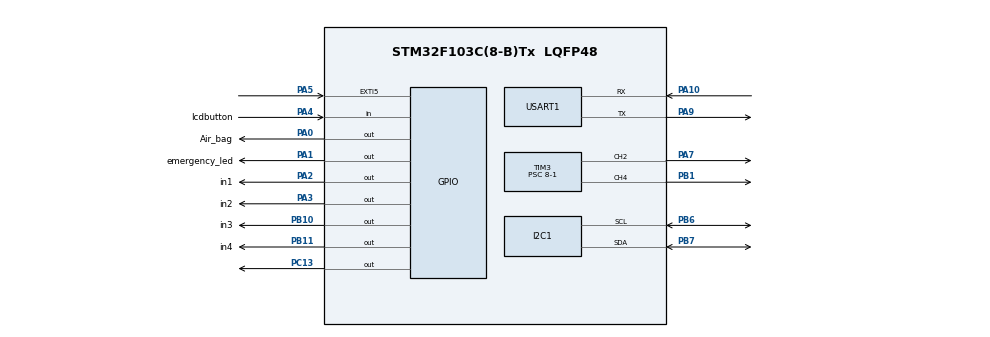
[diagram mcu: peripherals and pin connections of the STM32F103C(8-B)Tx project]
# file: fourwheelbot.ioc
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Mcu.Family=STM32F1
Mcu.Name=STM32F103C(8-B)Tx
Mcu.Package=LQFP48
NVIC.EXTI9_5_IRQn=true\:5\:0\:true\:false\:false\:true\:true\:true
NVIC.PriorityGroup=NVIC_PRIORITYGROUP_3
NVIC.TIM1_UP_IRQn=true\:7\:0\:true\:false\:true\:false\:true\:true
NVIC.TimeBase=TIM1_UP_IRQn
NVIC.TimeBaseIP=TIM1
PA0-WKUP.GPIO_Label=Air_bag
PA0-WKUP.Signal=GPIO_Output
PA1.GPIO_Label=emergency_led
PA1.Signal=GPIO_Output
PA10.Mode=Asynchronous
PA10.Signal=USART1_RX
PA2.GPIO_Label=in1
PA2.Signal=GPIO_Output
PA3.GPIO_Label=in2
PA3.Signal=GPIO_Output
PA4.GPIO_Label=lcdbutton
PA4.GPIO_PuPd=GPIO_PULLDOWN
PA4.Signal=GPIO_Input
PA5.GPIO_ModeDefaultEXTI=GPIO_MODE_IT_FALLING
PA5.Signal=GPXTI5
PA7.Signal=S_TIM3_CH2
PA9.Mode=Asynchronous
PA9.Signal=USART1_TX
PB1.Signal=S_TIM3_CH4
PB10.GPIO_Label=in3
PB10.Signal=GPIO_Output
PB11.GPIO_Label=in4
PB11.Signal=GPIO_Output
PB6.Mode=I2C
PB6.Signal=I2C1_SCL
PB7.Mode=I2C
PB7.Signal=I2C1_SDA
PC13-TAMPER-RTC.Signal=GPIO_Output
ProjectManager.HeapSize=0x200
ProjectManager.StackSize=0x400
ProjectManager.TargetToolchain=STM32CubeIDE
RCC.APB1Freq_Value=8000000
RCC.APB2Freq_Value=8000000
SH.S_TIM3_CH2.0=TIM3_CH2,PWM Generation2 CH2
SH.S_TIM3_CH4.0=TIM3_CH4,PWM Generation4 CH4
TIM3.Channel-PWM\ Generation2\ CH2=TIM_CHANNEL_2
TIM3.Channel-PWM\ Generation4\ CH4=TIM_CHANNEL_4
TIM3.Period=1000-1
TIM3.Prescaler=8-1
USART1.VirtualMode=VM_ASYNC
VP_SYS_VS_ND.Mode=No_Debug
VP_SYS_VS_tim1.Mode=TIM1
board=custom

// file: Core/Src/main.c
/* USER CODE BEGIN Header */
/**
  ******************************************************************************
  * @file           : main.c
  * @brief          : Main program body
  ******************************************************************************
  * @attention
  *
  * Copyright (c) 2026 STMicroelectronics.
  * All rights reserved.
  *
  * This software is licensed under terms that can be found in the LICENSE file
  * in the root directory of this software component.
  * If no LICENSE file comes with this software, it is provided AS-IS.
  *
  ******************************************************************************
  */
/* USER CODE END Header */
#include "main.h"

/* USER CODE BEGIN Includes */
#include "FreeRTOS.h"
#include "task.h"
/* USER CODE END Includes */

/* USER CODE BEGIN PTD */
#define DEVICE_ADDR (0x27<<1)
uint8_t command1[]={0x30,0x30,0x30,0x20,'\0'};
uint8_t command[]={0x28,0x0E,0x01,0x07,0x8F,'\0'};
uint8_t lcd_data[] ="Write 16 letters of your favourite song1";
uint8_t lcd_data1[]="Write 16 letters of your favourite song2";
int lcd_button_flag=0;
/* USER CODE END PTD */

I2C_HandleTypeDef hi2c1;

TIM_HandleTypeDef htim3;

UART_HandleTypeDef huart1;

void SystemClock_Config(void);
static void MX_GPIO_Init(void);
static void MX_USART1_UART_Init(void);
static void MX_I2C1_Init(void);
static void MX_TIM3_Init(void);
/* USER CODE BEGIN PFP */

void lcd_init(void);
void lcd_write_command1(uint8_t command_1);
void lcd_write_command(uint8_t data);
void lcd_write_data(uint8_t data);
void delay();

void motor_task(void *parameter);
void lcd_task(void *parameter);
void lcdbutton_task(void *parameter);
void emergency_task(void *parameter);

TaskHandle_t motor_handle;
TaskHandle_t lcd_handle;
TaskHandle_t lcdbutton_handle;
TaskHandle_t emergency_handle;
/* USER CODE END PFP */

int main(void)
{

  /* MCU Configuration--------------------------------------------------------*/

  /* Reset of all peripherals, Initializes the Flash interface and the Systick. */
  HAL_Init();

  /* Configure the system clock */
  SystemClock_Config();

  /* Initialize all configured peripherals */
  MX_GPIO_Init();
  MX_USART1_UART_Init();
  MX_I2C1_Init();
  MX_TIM3_Init();
  /* USER CODE BEGIN 2 */

  xTaskCreate(motor_task, "motor", 100, NULL, 3, &motor_handle);
  xTaskCreate(lcd_task, "lcd", 200, NULL, 2, &lcd_handle);
  xTaskCreate(lcdbutton_task, "lcdbutton", 50, NULL, 2, &lcdbutton_handle);

  xTaskCreate(emergency_task, "emergency", 50, NULL, 4, &emergency_handle);

  vTaskStartScheduler();
  /* USER CODE END 2 */

  /* Infinite loop */
  while (1)
  {

  }
}

void SystemClock_Config(void)
{
  RCC_OscInitTypeDef RCC_OscInitStruct = {0};
  RCC_ClkInitTypeDef RCC_ClkInitStruct = {0};

  /** Initializes the RCC Oscillators according to the specified parameters
  * in the RCC_OscInitTypeDef structure.
  */
  RCC_OscInitStruct.OscillatorType = RCC_OSCILLATORTYPE_HSI;
  RCC_OscInitStruct.HSIState = RCC_HSI_ON;
  RCC_OscInitStruct.HSICalibrationValue = RCC_HSICALIBRATION_DEFAULT;
  RCC_OscInitStruct.PLL.PLLState = RCC_PLL_NONE;
  if (HAL_RCC_OscConfig(&RCC_OscInitStruct) != HAL_OK)
  {
    Error_Handler();
  }

  /** Initializes the CPU, AHB and APB buses clocks
  */
  RCC_ClkInitStruct.ClockType = RCC_CLOCKTYPE_HCLK|RCC_CLOCKTYPE_SYSCLK
                              |RCC_CLOCKTYPE_PCLK1|RCC_CLOCKTYPE_PCLK2;
  RCC_ClkInitStruct.SYSCLKSource = RCC_SYSCLKSOURCE_HSI;
  RCC_ClkInitStruct.AHBCLKDivider = RCC_SYSCLK_DIV1;
  RCC_ClkInitStruct.APB1CLKDivider = RCC_HCLK_DIV1;
  RCC_ClkInitStruct.APB2CLKDivider = RCC_HCLK_DIV1;

  if (HAL_RCC_ClockConfig(&RCC_ClkInitStruct, FLASH_LATENCY_0) != HAL_OK)
  {
    Error_Handler();
  }
}

static void MX_I2C1_Init(void)
{

  hi2c1.Instance = I2C1;
  hi2c1.Init.ClockSpeed = 100000;
  hi2c1.Init.DutyCycle = I2C_DUTYCYCLE_2;
  hi2c1.Init.OwnAddress1 = 0;
  hi2c1.Init.AddressingMode = I2C_ADDRESSINGMODE_7BIT;
  hi2c1.Init.DualAddressMode = I2C_DUALADDRESS_DISABLE;
  hi2c1.Init.OwnAddress2 = 0;
  hi2c1.Init.GeneralCallMode = I2C_GENERALCALL_DISABLE;
  hi2c1.Init.NoStretchMode = I2C_NOSTRETCH_DISABLE;
  if (HAL_I2C_Init(&hi2c1) != HAL_OK)
  {
    Error_Handler();
  }

}

static void MX_TIM3_Init(void)
{

  TIM_MasterConfigTypeDef sMasterConfig = {0};
  TIM_OC_InitTypeDef sConfigOC = {0};

  htim3.Instance = TIM3;
  htim3.Init.Prescaler = 8-1;
  htim3.Init.CounterMode = TIM_COUNTERMODE_UP;
  htim3.Init.Period = 1000-1;
  htim3.Init.ClockDivision = TIM_CLOCKDIVISION_DIV1;
  htim3.Init.AutoReloadPreload = TIM_AUTORELOAD_PRELOAD_DISABLE;
  if (HAL_TIM_PWM_Init(&htim3) != HAL_OK)
  {
    Error_Handler();
  }
  sMasterConfig.MasterOutputTrigger = TIM_TRGO_RESET;
  sMasterConfig.MasterSlaveMode = TIM_MASTERSLAVEMODE_DISABLE;
  if (HAL_TIMEx_MasterConfigSynchronization(&htim3, &sMasterConfig) != HAL_OK)
  {
    Error_Handler();
  }
  sConfigOC.OCMode = TIM_OCMODE_PWM1;
  sConfigOC.Pulse = 0;
  sConfigOC.OCPolarity = TIM_OCPOLARITY_HIGH;
  sConfigOC.OCFastMode = TIM_OCFAST_DISABLE;
  if (HAL_TIM_PWM_ConfigChannel(&htim3, &sConfigOC, TIM_CHANNEL_2) != HAL_OK)
  {
    Error_Handler();
  }
  if (HAL_TIM_PWM_ConfigChannel(&htim3, &sConfigOC, TIM_CHANNEL_4) != HAL_OK)
  {
    Error_Handler();
  }
  HAL_TIM_MspPostInit(&htim3);

}

static void MX_USART1_UART_Init(void)
{

  huart1.Instance = USART1;
  huart1.Init.BaudRate = 115200;
  huart1.Init.WordLength = UART_WORDLENGTH_8B;
  huart1.Init.StopBits = UART_STOPBITS_1;
  huart1.Init.Parity = UART_PARITY_NONE;
  huart1.Init.Mode = UART_MODE_TX_RX;
  huart1.Init.HwFlowCtl = UART_HWCONTROL_NONE;
  huart1.Init.OverSampling = UART_OVERSAMPLING_16;
  if (HAL_UART_Init(&huart1) != HAL_OK)
  {
    Error_Handler();
  }

}

static void MX_GPIO_Init(void)
{
  GPIO_InitTypeDef GPIO_InitStruct = {0};

  /* GPIO Ports Clock Enable */
  __HAL_RCC_GPIOC_CLK_ENABLE();
  __HAL_RCC_GPIOA_CLK_ENABLE();
  __HAL_RCC_GPIOB_CLK_ENABLE();

  /*Configure GPIO pin Output Level */
  HAL_GPIO_WritePin(GPIOC, GPIO_PIN_13, GPIO_PIN_RESET);

  /*Configure GPIO pin Output Level */
  HAL_GPIO_WritePin(GPIOA, Air_bag_Pin|emergency_led_Pin|in1_Pin|in2_Pin, GPIO_PIN_RESET);

  /*Configure GPIO pin Output Level */
  HAL_GPIO_WritePin(GPIOB, in3_Pin|in4_Pin, GPIO_PIN_RESET);

  /*Configure GPIO pin : PC13 */
  GPIO_InitStruct.Pin = GPIO_PIN_13;
  GPIO_InitStruct.Mode = GPIO_MODE_OUTPUT_PP;
  GPIO_InitStruct.Pull = GPIO_NOPULL;
  GPIO_InitStruct.Speed = GPIO_SPEED_FREQ_LOW;
  HAL_GPIO_Init(GPIOC, &GPIO_InitStruct);

  /*Configure GPIO pins : Air_bag_Pin emergency_led_Pin in1_Pin in2_Pin */
  GPIO_InitStruct.Pin = Air_bag_Pin|emergency_led_Pin|in1_Pin|in2_Pin;
  GPIO_InitStruct.Mode = GPIO_MODE_OUTPUT_PP;
  GPIO_InitStruct.Pull = GPIO_NOPULL;
  GPIO_InitStruct.Speed = GPIO_SPEED_FREQ_LOW;
  HAL_GPIO_Init(GPIOA, &GPIO_InitStruct);

  /*Configure GPIO pin : lcdbutton_Pin */
  GPIO_InitStruct.Pin = lcdbutton_Pin;
  GPIO_InitStruct.Mode = GPIO_MODE_INPUT;
  GPIO_InitStruct.Pull = GPIO_PULLDOWN;
  HAL_GPIO_Init(lcdbutton_GPIO_Port, &GPIO_InitStruct);

  /*Configure GPIO pin : PA5 */
  GPIO_InitStruct.Pin = GPIO_PIN_5;
  GPIO_InitStruct.Mode = GPIO_MODE_IT_FALLING;
  GPIO_InitStruct.Pull = GPIO_NOPULL;
  HAL_GPIO_Init(GPIOA, &GPIO_InitStruct);

  /*Configure GPIO pins : in3_Pin in4_Pin */
  GPIO_InitStruct.Pin = in3_Pin|in4_Pin;
  GPIO_InitStruct.Mode = GPIO_MODE_OUTPUT_PP;
  GPIO_InitStruct.Pull = GPIO_NOPULL;
  GPIO_InitStruct.Speed = GPIO_SPEED_FREQ_LOW;
  HAL_GPIO_Init(GPIOB, &GPIO_InitStruct);

  /* EXTI interrupt init*/
  HAL_NVIC_SetPriority(EXTI9_5_IRQn, 5, 0);
  HAL_NVIC_EnableIRQ(EXTI9_5_IRQn);

}

/* USER CODE BEGIN 4 */

void motor_task(void *parameter){
	HAL_TIM_PWM_Start(&htim3, TIM_CHANNEL_2);
	HAL_TIM_PWM_Start(&htim3, TIM_CHANNEL_4);

	while(1){
		HAL_GPIO_WritePin(GPIOA, GPIO_PIN_2, 1);
		HAL_GPIO_WritePin(GPIOA, GPIO_PIN_3, 0);
		HAL_GPIO_WritePin(GPIOB, GPIO_PIN_10, 1);
		HAL_GPIO_WritePin(GPIOB, GPIO_PIN_11, 0);
		//Load your motorA pwm value to 70%
		//Load your motorB pwm value to 70%

		vTaskDelay(500);
	}
}

void lcd_task(void *parameter){
	int i=0;
	 lcd_init();
	while(1){
		while(lcd_button_flag==0){
			lcd_write_command(0x01);
			lcd_write_command(0x8F);
			for(i=0;i<16&&lcd_button_flag==0;i++){
				lcd_write_data(lcd_data[i]);
				vTaskDelay(200);
			}
		}
		while(lcd_button_flag==1){
			lcd_write_command(0x01);
			lcd_write_command(0x8F);
			for(i=0;i<16&&lcd_button_flag==1;i++){
				lcd_write_data(lcd_data1[i]);
				vTaskDelay(200);
			}
		}
	  HAL_GPIO_TogglePin(GPIOC,GPIO_PIN_13);
	  vTaskDelay(500);
	}
}
void lcdbutton_task(void *parameter){
	while(1){
		if(HAL_GPIO_ReadPin(GPIOA, GPIO_PIN_4)==0){
			lcd_button_flag=0;
		}
		else{
			lcd_button_flag=1;
		}
		vTaskDelay(100);
	}
}

void emergency_task(void *parameter){
	while(1){
		xTaskNotifyWait(0,0,NULL,portMAX_DELAY);
		HAL_GPIO_WritePin(GPIOA, GPIO_PIN_0, 1);

		HAL_TIM_PWM_Stop(&htim3, TIM_CHANNEL_2);
		HAL_TIM_PWM_Stop(&htim3, TIM_CHANNEL_4);
		//Here write  the code to check whether IR sensor is still low
		//Write your while condition
		{
			HAL_GPIO_TogglePin(GPIOA, GPIO_PIN_1);
			HAL_Delay(100);

		}
		HAL_GPIO_WritePin(GPIOA, GPIO_PIN_0, 0);
		HAL_GPIO_WritePin(GPIOA, GPIO_PIN_1, 0);

		HAL_TIM_PWM_Start(&htim3, TIM_CHANNEL_2);
		HAL_TIM_PWM_Start(&htim3, TIM_CHANNEL_4);

	}
}

void EXTI9_5_IRQHandler(void)
{
  /* USER CODE BEGIN EXTI9_5_IRQn 0 */

  /* USER CODE END EXTI9_5_IRQn 0 */
  HAL_GPIO_EXTI_IRQHandler(GPIO_PIN_5);

  /* USER CODE BEGIN EXTI9_5_IRQn 1 */
  BaseType_t xHigherPriorityTaskWoken;

xTaskNotifyFromISR(emergency_handle,0,eNoAction,&xHigherPriorityTaskWoken);
portYIELD_FROM_ISR( xHigherPriorityTaskWoken );
  /* USER CODE END EXTI9_5_IRQn 1 */
}

void lcd_init(){
	uint8_t i=0;
	//while(command[i]!='\0'){
	//	lcd_write_command(command[i]);
	//	i++;
	//}
	for(i=0;i<4;i++){
			lcd_write_command1(command1[i]);

		}
	for(i=0;i<6;i++){
		lcd_write_command(command[i]);
		HAL_Delay(100);

	}
}

void lcd_write_command1(uint8_t command_1){
	uint8_t upper_nibble = command_1&0xF0;
	uint8_t backlight = 0x08;
	uint8_t en = 0x04;
	uint8_t rw = 0x02;
	uint8_t rs = 0x01;
	uint8_t packet = (upper_nibble | backlight | en) & ~(rw | rs);
	HAL_I2C_Master_Transmit(&hi2c1, DEVICE_ADDR, &packet, 1, 10);
	HAL_Delay(1);
	packet = (upper_nibble | backlight) & ~(en | rw | rs);
	HAL_I2C_Master_Transmit(&hi2c1, DEVICE_ADDR, &packet, 1, 10);
	HAL_Delay(5);
}

void lcd_write_command(uint8_t data){
	uint8_t upper_nibble = data&0xF0;
	uint8_t lower_nibble = (data<<4)&0xF0;
	uint8_t backlight = 0x08;
	uint8_t en = 0x04;
	uint8_t rw = 0x02;
	uint8_t rs = 0x01;

	//uint8_t packet1 = upper_nibble | backlight ;
	//packet1 = packet1 | en ;
	//packet1 = packet1 &(~(rw|rs))  ;
	uint8_t packet1 = (upper_nibble | backlight | en ) & ~(rw | rs);
	HAL_I2C_Master_Transmit(&hi2c1, DEVICE_ADDR, &packet1, 1, 10);
	HAL_Delay(2);
	packet1 = (upper_nibble | backlight ) & ~(en | rw | rs);
	HAL_I2C_Master_Transmit(&hi2c1, DEVICE_ADDR, &packet1, 1, 10);
	HAL_Delay(2);
	uint8_t packet2 = (lower_nibble | backlight | en ) & ~(rw | rs);
	HAL_I2C_Master_Transmit(&hi2c1, DEVICE_ADDR, &packet2, 1, 10);
	HAL_Delay(2);
	packet2 = (lower_nibble | backlight ) & ~(en | rw | rs);
	HAL_I2C_Master_Transmit(&hi2c1, DEVICE_ADDR, &packet2, 1, 10);
	HAL_Delay(2);

}

void lcd_write_data(uint8_t data){
	uint8_t upper_nibble = data&0xF0;
	uint8_t lower_nibble = (data<<4)&0xF0;
	uint8_t backlight = 0x08;
	uint8_t en = 0x04;
	uint8_t rw = 0x02;
	uint8_t rs = 0x01;

	//uint8_t packet1 = upper_nibble | backlight | rs ;
	//packet1 = packet1 | en ;
	//packet1 = packet1 &(~rw)  ;
	uint8_t packet1 = (upper_nibble | backlight | en | rs) & ~(rw);
	HAL_I2C_Master_Transmit(&hi2c1, DEVICE_ADDR, &packet1, 1, 10);
	HAL_Delay(2);
	//packet1 = packet1 &(~en)  ;
	packet1 = (upper_nibble | backlight | rs) & ~(en | rw);
	HAL_I2C_Master_Transmit(&hi2c1, DEVICE_ADDR, &packet1, 1, 10);
	HAL_Delay(2);

	uint8_t packet2 = (lower_nibble | backlight | en | rs) & ~(rw);
	HAL_I2C_Master_Transmit(&hi2c1, DEVICE_ADDR, &packet2, 1, 10);
	HAL_Delay(2);
	packet2 = (lower_nibble | backlight | rs) & ~(en | rw);
	HAL_I2C_Master_Transmit(&hi2c1, DEVICE_ADDR, &packet2, 1, 10);
	HAL_Delay(2);
}

/* USER CODE END 4 */

void HAL_TIM_PeriodElapsedCallback(TIM_HandleTypeDef *htim)
{
  if (htim->Instance == TIM1)
  {
    HAL_IncTick();
  }
}

void Error_Handler(void)
{
  __disable_irq();
  while (1)
  {
  }
}
